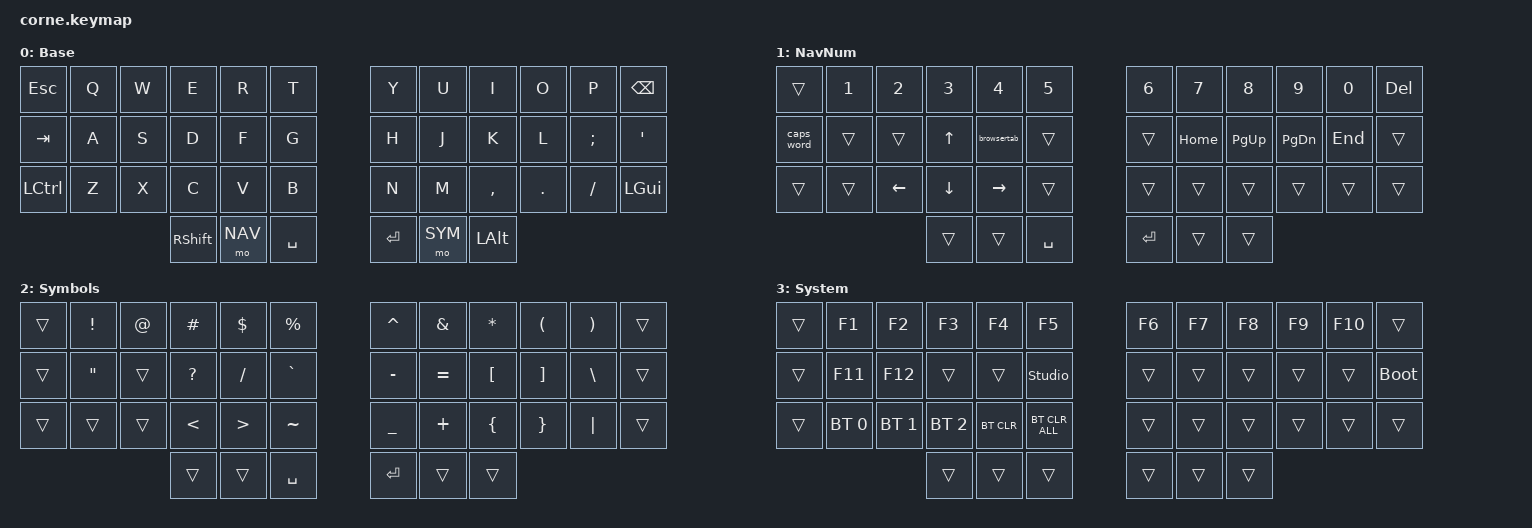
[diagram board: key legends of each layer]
#include <behaviors.dtsi>
#include <dt-bindings/zmk/bt.h>
#include <dt-bindings/zmk/keys.h>

#define DEF 0
#define NAV 1
#define SYM 2
#define ADJ 3

#define BTAB    &browsertab
#define CAPS    &caps_word
#define SUNL    &studio_unlock
#define BOOT    &bootloader
#define BT0     &bt BT_SEL 0
#define BT1     &bt BT_SEL 1
#define BT2     &bt BT_SEL 2
#define BTC     &bt BT_CLR
#define BTCA    &bt BT_CLR_ALL

/ {
    macros {
        browsertab: browsertab {
            compatible = "zmk,behavior-macro";
            #binding-cells = <0>;
            bindings =
                <&macro_press>,
                <&kp LCTRL>,
                <&macro_tap>,
                <&kp TAB>,
                <&macro_release>,
                <&kp LCTRL>;
        };
    };

    keymap {
        compatible = "zmk,keymap";

        // ──────────────────────────────── BASE ────────────────────────────────
        // ┌─────┬─────┬─────┬─────┬─────┬─────┐    ┌─────┬─────┬─────┬─────┬─────┬─────┐
        // │ ESC │  Q  │  W  │  E  │  R  │  T  │    │  Y  │  U  │  I  │  O  │  P  │BSPC │
        // │ TAB │  A  │  S  │  D  │  F  │  G  │    │  H  │  J  │  K  │  L  │  ;  │  '  │
        // │LCTL │  Z  │  X  │  C  │  V  │  B  │    │  N  │  M  │  ,  │  .  │  /  │ GUI │
        // └─────┴─────┴─────┼─────┼─────┼─────┤    ├─────┼─────┼─────┼─────┴─────┴─────┘
        //                   │RSFT │ NAV │ SPC │    │ ENT │ SYM │ ALT │
        //                   └─────┴─────┴─────┘    └─────┴─────┴─────┘
        DEF {
            display-name = "Base";
            bindings = <
&kp ESC      &kp Q        &kp W        &kp E        &kp R        &kp T            &kp Y        &kp U        &kp I        &kp O        &kp P        &kp BSPC
&kp TAB      &kp A        &kp S        &kp D        &kp F        &kp G            &kp H        &kp J        &kp K        &kp L        &kp SEMI     &kp SQT
&kp LCTRL    &kp Z        &kp X        &kp C        &kp V        &kp B            &kp N        &kp M        &kp COMMA    &kp DOT      &kp FSLH     &kp LGUI
                                       &kp RSHFT    &mo NAV      &kp SPACE        &kp RET      &mo SYM      &kp LALT
            >;
        };

        // ─────────────────────────────── NAVNUM ───────────────────────────────
        // ┌─────┬─────┬─────┬─────┬─────┬─────┐    ┌─────┬─────┬─────┬─────┬─────┬─────┐
        // │     │  1  │  2  │  3  │  4  │  5  │    │  6  │  7  │  8  │  9  │  0  │ DEL │
        // │CAPS │     │     │  ↑  │BTAB │     │    │     │HOME │PgUp │PgDn │ END │     │
        // │     │     │  ←  │  ↓  │  →  │     │    │     │     │     │     │     │     │
        // └─────┴─────┴─────┼─────┼─────┼─────┤    ├─────┼─────┼─────┼─────┴─────┴─────┘
        //                   │     │     │ SPC │    │ ENT │     │     │
        //                   └─────┴─────┴─────┘    └─────┴─────┴─────┘
        NAV {
            display-name = "NavNum";
            bindings = <
&trans       &kp N1       &kp N2       &kp N3       &kp N4       &kp N5           &kp N6       &kp N7       &kp N8       &kp N9       &kp N0       &kp DEL
CAPS         &trans       &trans       &kp UP       BTAB         &trans           &trans       &kp HOME     &kp PG_UP    &kp PG_DN    &kp END      &trans
&trans       &trans       &kp LEFT     &kp DOWN     &kp RIGHT    &trans           &trans       &trans       &trans       &trans       &trans       &trans
                                       &trans       &trans       &kp SPACE        &kp RET      &trans       &trans
            >;
        };

        // ─────────────────────────────── SYMBOLS ──────────────────────────────
        // ┌─────┬─────┬─────┬─────┬─────┬─────┐    ┌─────┬─────┬─────┬─────┬─────┬─────┐
        // │     │  !  │  @  │  #  │  $  │  %  │    │  ^  │  &  │  *  │  (  │  )  │     │
        // │     │  "  │     │  ?  │  /  │  `  │    │  -  │  =  │  [  │  ]  │  \  │     │
        // │     │     │     │  <  │  >  │  ~  │    │  _  │  +  │  {  │  }  │  |  │     │
        // └─────┴─────┴─────┼─────┼─────┼─────┤    ├─────┼─────┼─────┼─────┴─────┴─────┘
        //                   │     │     │ SPC │    │ ENT │     │     │
        //                   └─────┴─────┴─────┘    └─────┴─────┴─────┘
        SYM {
            display-name = "Symbols";
            bindings = <
&trans       &kp EXCL     &kp AT       &kp HASH     &kp DLLR     &kp PRCNT        &kp CARET    &kp AMPS     &kp ASTRK    &kp LPAR     &kp RPAR     &trans
&trans       &kp DQT      &trans       &kp QMARK    &kp FSLH     &kp GRAVE        &kp MINUS    &kp EQUAL    &kp LBKT     &kp RBKT     &kp BSLH     &trans
&trans       &trans       &trans       &kp LT       &kp GT       &kp TILDE        &kp UNDER    &kp PLUS     &kp LBRC     &kp RBRC     &kp PIPE     &trans
                                       &trans       &trans       &kp SPACE        &kp RET      &trans       &trans
            >;
        };

        // ─────────────────────────────── SYSTEM ───────────────────────────────
        // ┌─────┬─────┬─────┬─────┬─────┬─────┐    ┌─────┬─────┬─────┬─────┬─────┬─────┐
        // │     │ F1  │ F2  │ F3  │ F4  │ F5  │    │ F6  │ F7  │ F8  │ F9  │ F10 │     │
        // │     │ F11 │ F12 │     │     │UNLK │    │     │     │     │     │     │BOOT │
        // │     │ BT0 │ BT1 │ BT2 │ BT- │BT-A │    │     │     │     │     │     │     │
        // └─────┴─────┴─────┼─────┼─────┼─────┤    ├─────┼─────┼─────┼─────┴─────┴─────┘
        //                   │     │     │     │    │     │     │     │
        //                   └─────┴─────┴─────┘    └─────┴─────┴─────┘
        ADJ {
            display-name = "System";
            bindings = <
&trans       &kp F1       &kp F2       &kp F3       &kp F4       &kp F5           &kp F6       &kp F7       &kp F8       &kp F9       &kp F10      &trans
&trans       &kp F11      &kp F12      &trans       &trans       SUNL             &trans       &trans       &trans       &trans       &trans       BOOT
&trans       BT0          BT1          BT2          BTC          BTCA             &trans       &trans       &trans       &trans       &trans       &trans
                                       &trans       &trans       &trans           &trans       &trans       &trans
            >;
        };
    };

    conditional_layers {
        compatible = "zmk,conditional-layers";
        l3 {
            if-layers = <NAV SYM>;
            then-layer = <ADJ>;
        };
    };
};
